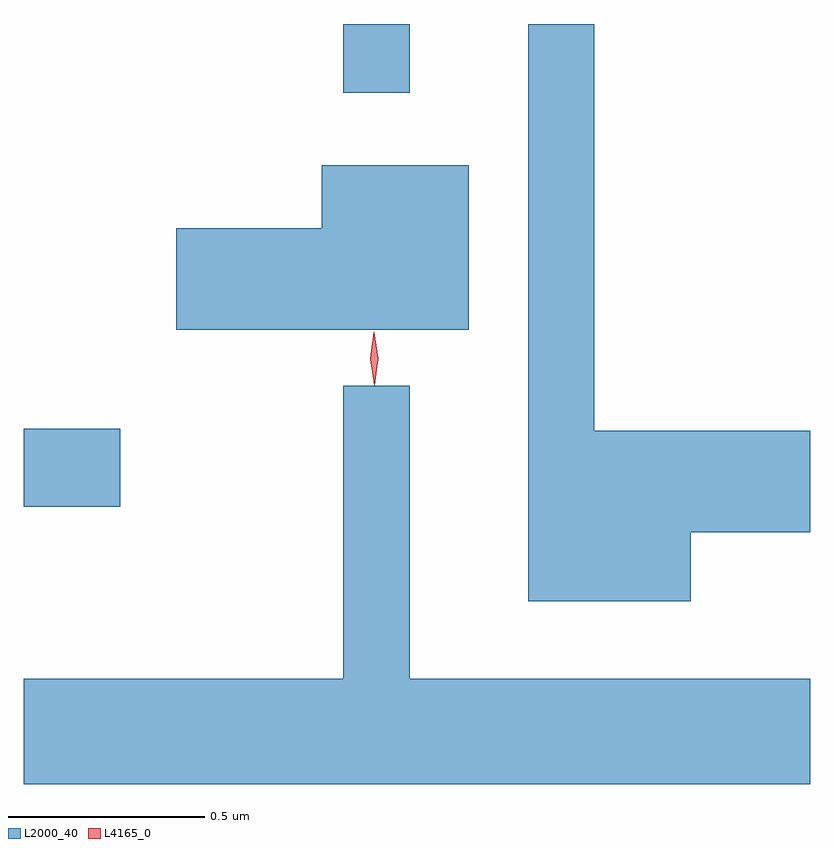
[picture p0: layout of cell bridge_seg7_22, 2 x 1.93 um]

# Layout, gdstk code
import gdstk
lib = gdstk.Library(unit=1e-6, precision=1e-09)
def R(c, l, rs):  # rectangles x0, y0, x1, y1
    for r in rs: c.add(gdstk.rectangle(r[:2], r[2:], *l))
def P(c, l, *ps):  # polygons
    for p in ps: c.add(gdstk.Polygon(p, *l))
L2000_40 = (2000, 40)
L4165_0 = (4165, 0)

bridge_seg7_22 = lib.new_cell('bridge_seg7_22')
R(bridge_seg7_22, L2000_40, [(1774.828,1768.301,1775.074,1768.499), (1775.641,1769.353,1775.809,1769.528)])
P(bridge_seg7_22, L2000_40, [(1776.524,1768.236),(1776.828,1768.236),(1776.828,1768.494),(1776.279,1768.494),(1776.279,1769.528),(1776.111,1769.528),(1776.111,1768.061),(1776.524,1768.061)],
  [(1775.959,1769.169),(1775.586,1769.169),(1775.586,1769.009),(1775.216,1769.009),(1775.216,1768.751),(1775.959,1768.751)],
  [(1776.828,1767.864),(1775.809,1767.864),(1775.809,1768.608),(1775.641,1768.608),(1775.641,1767.864),(1774.828,1767.864),(1774.828,1767.596),(1776.828,1767.596)])
P(bridge_seg7_22, L4165_0, [(1775.719,1768.61),(1775.719,1768.61),(1775.709,1768.678),(1775.718,1768.745),(1775.718,1768.746),(1775.719,1768.745),(1775.729,1768.678),(1775.72,1768.61)],
  [(1775.719,1768.613),(1775.719,1768.613),(1775.709,1768.676),(1775.718,1768.739),(1775.718,1768.74),(1775.719,1768.739),(1775.729,1768.676),(1775.72,1768.613)])

lib.write_gds('bridge_seg7_22.gds')
